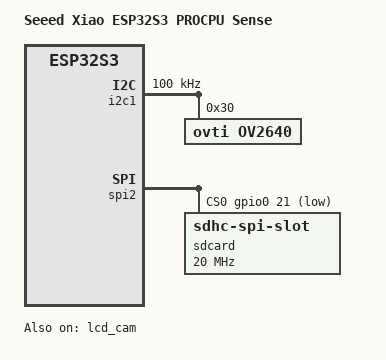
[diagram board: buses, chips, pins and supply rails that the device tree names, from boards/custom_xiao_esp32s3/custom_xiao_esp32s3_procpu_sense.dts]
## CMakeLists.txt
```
cmake_minimum_required(VERSION 3.20.0)

list(APPEND BOARD_ROOT ${CMAKE_CURRENT_SOURCE_DIR}) 
find_package(Zephyr REQUIRED HINTS $ENV{ZEPHYR_BASE})
project(my_zephyr_app)

target_sources(app PRIVATE 
                src/main.cpp 
                drivers/my_driver/my_driver.c
                drivers/my_driver/my_driver_shell.c
            )
```

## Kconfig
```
mainmenu "IOMICO Zephyr Course"
    config APP_HEARTBEAT_PERIOD_MS
        int "Heartbeat period in milliseconds"
        default 500
        range 100 2000
        help
          Set the heartbeat period for the application in milliseconds.

source "Kconfig.zephyr"
rsource "drivers/my_driver/Kconfig"
```

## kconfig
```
menuconfig LED_SUBSYSTEM
    bool "LED Subsystem"
    default y
    help 
        Enable the LED Subsystem (blink, timing, brightness and expert settings)
    
if LED_SUBSYSTEM

choice name
    prompt "LED blink sleep time"
    default LED_BLINK_1S

config LED_BLINK_250MS
    bool "250ms"
    
config LED_BLINK_500MS
    bool "500ms"
config LED_BLINK_1S
    bool "1s"
config LED_BLINK_2S
    bool "2s"
endchoice

config LED_BLINK_SLEEP_TIME_MS
    int
    default 250  if LED_BLINK_250MS
    default 500  if LED_BLINK_500MS
    default 1000 if LED_BLINK_1S
    default 2000 if LED_BLINK_2S

menuconfig ADVANCED_LED_SETTINGS
    bool "Advanced LED settings"

config LED_BRIGHTNESS
    int "LED brightness (0 - 100)"
    depends on ADVANCED_LED_SETTINGS
    range 0 100
    default 100

config LED_FADE_DURATION
    int "LED fade duration (ms)"
    depends on ADVANCED_LED_SETTINGS
    range 0 5000
    default 500

menu "Expert Settings"
    visible if ADVANCED_LED_SETTINGS

config LED_DEBUGGING
    bool "Enable LED debugging"

config CUSTOM_BLINK_PATTERN
    bool "custom blink pattern"
endmenu

endif #LED_SUBSYSTEM

source "kconfig.zephyr"
    
```

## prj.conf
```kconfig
CONFIG_GPIO=y
CONFIG_GPIO_EMUL=y
CONFIG_LOG=y
CONFIG_SENSOR=y
CONFIG_SHELL=y
```

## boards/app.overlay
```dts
/ {
    aliases {
        app-led = &user_led;
    };

    leds {
        compatible = "gpio-leds";
        user_led: led_0 {
            gpios = <&gpio0 21 GPIO_ACTIVE_HIGH>;
            label = "User LED";
        };
    };

    my_led_sensor {
        compatible = "my,led-sensor";
        status = "okay";
    };
};
```

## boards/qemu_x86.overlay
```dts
#include <zephyr/dt-bindings/gpio/gpio.h>

/ {
	aliases {
		app-led = &led0;
	};

	gpio_emul: gpio_emul {
		compatible = "zephyr,gpio-emul";
		gpio-controller;
		#gpio-cells = <2>;
		ngpios = <8>;
		status = "okay";
	};

	leds {
		compatible = "gpio-leds";
		led0: led_0 {
			gpios = <&gpio_emul 0 GPIO_ACTIVE_HIGH>;
		};
	};

	my_led_sensor {
        	compatible = "my,led-sensor";
        	status = "okay";
    	};
};
```

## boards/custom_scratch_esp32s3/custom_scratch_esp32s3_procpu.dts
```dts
/dts-v1/;
#include <espressif/esp32s3/esp32s3_wroom_n8.dtsi>
#include <espressif/partitions_0x0_amp.dtsi>
#include "custom_scratch_esp32s3-pinctrl.dtsi"
#include <zephyr/dt-bindings/gpio/gpio.h>

/ {
	chosen {
		zephyr,sram = &sram1;
		zephyr,console = &uart0;
		zephyr,shell-uart = &uart0;
		zephyr,flash = &flash0;
		zephyr,code-partition = &slot0_partition;
	};

	aliases {
		app-led = &user_led;
	};

	leds {
	compatible = "gpio-leds";
	user_led: led_0 {
		gpios = <&gpio0 21 GPIO_ACTIVE_LOW>;
		label = "user_led";
		};
	};
};

&uart0 {
	status = "okay";
	current-speed = <115200>;
	pinctrl-0 = <&uart0_default>;
	pinctrl-names = "default";
};

&gpio0 { status = "okay"; };
&gpio1 { status = "okay"; };
&trng0 { status = "okay"; };
```

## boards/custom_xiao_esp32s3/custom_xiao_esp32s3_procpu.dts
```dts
/*
 * Copyright (c) 2023 Seeed Studio inc.
 *
 * SPDX-License-Identifier: Apache-2.0
 */

/dts-v1/;

#include "custom_xiao_esp32s3_procpu_common.dtsi"
#include "custom_xiao_esp32s3-pinctrl.dtsi"
#include "seeed_xiao_connector.dtsi"
#include <espressif/partitions_0x0_amp.dtsi>

/ {
	model = "Seeed Xiao ESP32S3 PROCPU";
	compatible = "seeed,xiao-esp32s3";
};
```

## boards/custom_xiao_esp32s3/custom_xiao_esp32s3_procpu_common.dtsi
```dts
/*
 * Copyright (c) 2023 Seeed Studio inc.
 *
 * SPDX-License-Identifier: Apache-2.0
 */

/dts-v1/;

#include <espressif/esp32s3/esp32s3_wroom_n8r8.dtsi>
#include "custom_xiao_esp32s3-pinctrl.dtsi"
#include "seeed_xiao_connector.dtsi"

/ {
	chosen {
		zephyr,sram = &sram1;
		zephyr,console = &usb_serial;
		zephyr,shell-uart = &usb_serial;
		zephyr,flash = &flash0;
		zephyr,code-partition = &slot0_partition;
		zephyr,bt-hci = &esp32_bt_hci;
	};

	aliases {
		i2c-0 = &i2c0;
		watchdog0 = &wdt0;
		led0 = &led0;
	};

	leds {
		compatible = "gpio-leds";
		led0: led_0 {
			gpios = <&gpio0 21 GPIO_ACTIVE_LOW>;
			label = "BUILTIN LED";
		};
	};

};

&usb_serial {
	status = "okay";
};

&uart0 {
	status = "okay";
	current-speed = <115200>;
	pinctrl-0 = <&uart0_default>;
	pinctrl-names = "default";
};

&i2c0 {
	status = "okay";
	clock-frequency = <I2C_BITRATE_STANDARD>;
	pinctrl-0 = <&i2c0_default>;
	pinctrl-names = "default";
};

&trng0 {
	status = "okay";
};

&spi2 {
	#address-cells = <1>;
	#size-cells = <0>;
	status = "okay";
	pinctrl-0 = <&spim2_default>;
	pinctrl-names = "default";
};

&gpio0 {
	status = "okay";
};

&gpio1 {
	status = "okay";
};

&wdt0 {
	status = "okay";
};

&twai {
	pinctrl-0 = <&twai_default>;
	pinctrl-names = "default";
};

&timer0 {
	status = "okay";
};

&timer1 {
	status = "okay";
};

&esp32_bt_hci {
	status = "okay";
};

&wifi {
	status = "okay";
};
```

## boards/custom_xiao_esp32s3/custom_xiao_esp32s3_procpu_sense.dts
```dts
/*
 * Copyright (c) 2023 Seeed Studio inc.
 *
 * SPDX-License-Identifier: Apache-2.0
 */

/dts-v1/;
#include "custom_xiao_esp32s3_procpu_common.dtsi"
#include <espressif/partitions_0x0_amp.dtsi>

/ {
	model = "Seeed Xiao ESP32S3 PROCPU Sense";
	compatible = "seeed,xiao-esp32s3";

	chosen {
		zephyr,camera = &lcd_cam;
	};
};

&i2c1 {
	status = "okay";
	clock-frequency = <I2C_BITRATE_STANDARD>;
	pinctrl-0 = <&i2c1_default>;
	pinctrl-names = "default";

	ov2640: ov2640@30 {
		compatible = "ovti,ov2640";
		reg = <0x30>;
		status = "okay";
		clock-rate-control = <0x80>;
		port {
			ov2640_ep_out: endpoint {
				remote-endpoint-label = "dvp_ep_in";
			};
		};
	};
};

&dma {
	status = "okay";
};

&lcd_cam {
	status = "okay";
	cam-clk = <10000000>;
	pinctrl-0 = <&lcd_cam_default>;
	pinctrl-names = "default";
	source = <&ov2640>;
	dmas = <&dma 2>;
	dma-names = "rx";
	port {
		dvp_ep_in: endpoint {
			remote-endpoint-label = "ov2640_ep_out";
		};
	};
};

&spi2 {
	status = "okay";
	cs-gpios = <&gpio0 21 GPIO_ACTIVE_LOW>;

	sdcard: sdcard@0 {
		compatible = "zephyr,sdhc-spi-slot";
		reg = <0>;
		status = "okay";
		mmc {
			compatible = "zephyr,sdmmc-disk";
			disk-name = "SD";
			status = "okay";
		};
		spi-max-frequency = <20000000>;
	};
};
```

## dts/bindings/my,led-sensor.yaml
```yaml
description: "Custom driver for controlling the LED on the device."
compatible: "my,led-sensor"
include: "base.yaml"
properties:
  status:
    required: true
```

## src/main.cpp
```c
#include <zephyr/kernel.h>
#include <zephyr/logging/log.h>
#include <zephyr/drivers/sensor.h>

extern "C" int my_led_sensor_set_mode(const struct device *dev, int mode);

LOG_MODULE_REGISTER(main, LOG_LEVEL_INF);

int main(void)
{
    const struct device *dev = DEVICE_DT_GET_ANY(my_led_sensor);

    if (!device_is_ready(dev)) {
        LOG_ERR("Device not ready");
        return 0;
    }

    LOG_INF("Device is ready");

    bool led_state = false;
    struct sensor_value val;

    my_led_sensor_set_mode(dev, 1);

    while(1)
    {
        // if(led_state)
        // {
        //     sensor_sample_fetch(dev);
        // }
        // else
        // {
        //     sensor_channel_get(dev, SENSOR_CHAN_ALL, &val);
        // }

        // led_state = !led_state;
        k_msleep(1000);
    }

    return 0;
}
```
